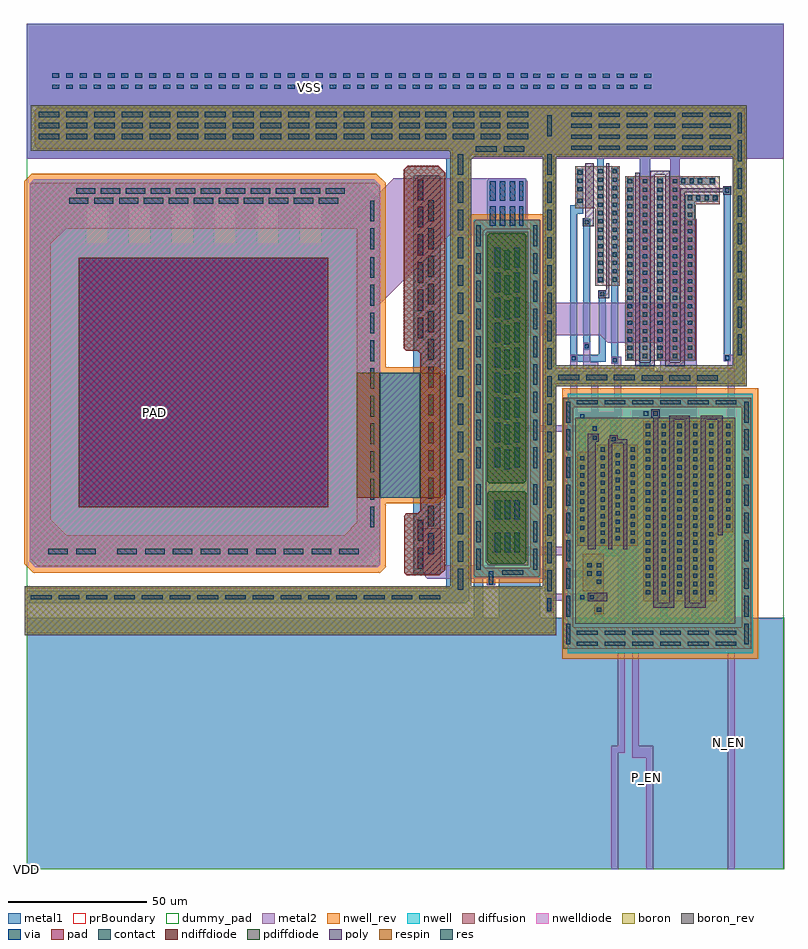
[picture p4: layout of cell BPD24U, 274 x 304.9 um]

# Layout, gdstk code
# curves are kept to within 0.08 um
import gdstk
lib = gdstk.Library(unit=1e-6, precision=1e-09)
def R(c, l, rs):  # rectangles x0, y0, x1, y1
    for r in rs: c.add(gdstk.rectangle(r[:2], r[2:], *l))
def A(c, l, x, y, w, h, nx, ny, dx, dy):  # array of equal rectangles
    R(c, l, [(x+i*dx, y+j*dy, x+i*dx+w, y+j*dy+h) for i in range(nx) for j in range(ny)])
def P(c, l, *ps):  # polygons
    for p in ps: c.add(gdstk.Polygon(p, *l))
nwell = (1, 0)
diffusion = (2, 0)
nwell_rev = (3, 0)
poly = (4, 0)
boron = (5, 0)
boron_rev = (6, 0)
contact = (7, 0)
metal1 = (8, 0)
via = (9, 0)
metal2 = (10, 0)
pad = (11, 0)
prBoundary = (28, 0)
res = (35, 0)
respin = (36, 0)
pdiffdiode = (37, 0)
nwelldiode = (38, 0)
ndiffdiode = (39, 0)
dummy_pad = (40, 0)

bpd24u = lib.new_cell('BPD24U')
R(bpd24u, nwell, [(195.05,77.9,261.7,171.4)])
P(bpd24u, nwell, [(161.5,105.25),(161.15,105.6),(161.15,233.95),(161.45,234.25),(185,234.25),(185.15,234.1),(185.15,105.6),(184.8,105.25)],
  [(3.15,108.95),(1.05,111.05),(1.05,247.25),(2.6,248.8),(125.25,248.8),(127.4,246.65),(127.4,179.652),(128.002,179.05),(147.45,179.05),(149.1,177.4),(149.1,135.7),(147.45,134.05),(128.058,134.05),(127.45,133.442),(127.45,109.75),(126.65,108.95)])
P(bpd24u, diffusion, [(162.101,105.25),(161.15,106.201),(161.15,233.344),(162.056,234.25),(181.65,234.25),(181.65,230.75),(165.536,230.75),(164.65,229.864),(164.65,109.515),(165.415,108.75),(181.395,108.75),(181.65,109.005),(181.65,234.25),(184.95,234.25),(185.15,234.05),(185.15,106.052),(184.348,105.25)],
  [(3.95,109.3),(1.05,112.2),(1.05,246.563),(2.037,247.55),(119,247.55),(119,231),(14.214,231),(8.7,225.486),(8.7,126.204),(14.404,120.5),(114.449,120.5),(119,125.051),(119,247.55),(125.563,247.55),(127.35,245.763),(127.35,109.952),(126.698,109.3)],
  [(137.101,105.95),(136.1,106.951),(136.1,127.549),(136.951,128.4),(140.987,128.4),(141.85,129.263),(141.85,185.999),(140.849,187),(136.906,187),(136,187.906),(136,252.285),(137.365,253.65),(148.4,253.65),(150.9,251.15),(150.9,108.002),(148.848,105.95)],
  [(193.45,79.6),(193.45,87.2),(193.5,87.2),(193.5,170.1),(257.8,170.1),(257.8,166.6),(197,166.6),(197,87.2),(257.8,87.2),(257.8,170.1),(261.3,170.1),(261.3,79.6)],
  [(0,85.15),(0,101.45),(153.45,101.45),(153.45,259.248),(152.848,259.85),(3.814,259.85),(2.85,260.814),(2.85,273.45),(4.05,274.65),(186.75,274.65),(186.75,257.65),(160.704,257.65),(159.55,256.496),(159.552,101.45),(186.295,101.45),(186.75,101.905),(186.75,274.65),(255.2,274.65),(255.2,257.65),(190.25,257.65),(190.25,180.8),(226.3,180.8),(226.3,179.4),(234.75,179.4),(234.75,180.8),(255.2,180.8),(255.2,274.65),(258.85,274.65),(258.85,174.85),(190.25,174.85),(190.25,85.15)],
  [(222.25,96.6),(222.25,161.6),(254.75,161.6),(254.75,121.6),(248.75,121.6),(248.75,96.6)],
  [(167.105,110.25),(166.15,111.205),(166.15,135.6),(166.8,136.25),(179.65,136.25),(180.15,135.75),(180.15,111.15),(179.25,110.25)],
  [(204.6,91.9),(204.6,95.4),(205.6,95.4),(205.6,100.2),(200.5,100.2),(200.5,113.8),(208.1,113.8),(208.1,91.9)],
  [(166.752,139.25),(166.15,139.852),(166.15,228.35),(167.05,229.25),(179.448,229.25),(180.15,228.548),(180.15,140.156),(179.244,139.25)],
  [(215.8,183.3),(215.8,249.95),(249.9,249.95),(249.9,239.75),(241.25,239.75),(241.25,183.3)],
  [(198.55,116.6),(198.55,150.6),(205.75,150.6),(205.75,153.1),(220.25,153.1),(220.25,116.6)],
  [(204.95,210.4),(204.95,238.4),(197.75,238.4),(197.75,253.4),(213.8,253.4),(213.8,210.4)])
R(bpd24u, nwell_rev, [(193.05,75.9,263.7,173.4)])
P(bpd24u, nwell_rev, [(160.672,103.25),(159.15,104.772),(159.15,234.778),(160.622,236.25),(185.828,236.25),(187.15,234.928),(187.15,104.772),(185.628,103.25)],
  [(2.322,106.95),(-0.95,110.222),(-0.95,248.078),(1.772,250.8),(126.078,250.8),(129.4,247.478),(129.4,181.05),(148.278,181.05),(151.1,178.228),(151.1,134.872),(148.278,132.05),(129.45,132.05),(129.45,108.922),(127.478,106.95)])
R(bpd24u, poly, [(202.3,96.65,209.3,99.65)])
P(bpd24u, poly, [(225.95,94.3),(225.95,162.9),(225.25,162.9),(225.25,165.8),(228.2,165.8),(228.2,162.9),(227.75,162.9),(227.75,96.1),(231.65,96.1),(231.65,163.6),(239.15,163.6),(239.15,96.1),(243.05,96.1),(243.05,163.6),(251.05,163.6),(251.05,120.4),(249.25,120.4),(249.25,162.1),(244.85,162.1),(244.85,94.3),(237.35,94.3),(237.35,162.1),(233.45,162.1),(233.45,94.3)],
  [(219.5,181.3),(219.5,251.15),(221,251.15),(221,182.8),(224.9,182.8),(224.9,251.95),(231.8,251.95),(231.8,182.8),(235.7,182.8),(235.7,245.6),(251.15,245.6),(251.15,246.2),(254.1,246.2),(254.1,243.3),(251.15,243.3),(251.15,244.1),(237.2,244.1),(237.2,181.3),(230.3,181.3),(230.3,250.45),(226.4,250.45),(226.4,181.3)],
  [(202.25,115.4),(202.25,157),(206.25,157),(206.25,154.1),(205.25,154.1),(205.25,115.4)],
  [(209.65,115.4),(209.65,155),(210.2,155),(210.2,156.5),(213.15,156.5),(213.15,155),(216.55,155),(216.55,115.4),(215.05,115.4),(215.05,153.6),(211.15,153.6),(211.15,115.4)],
  [(200.45,231.8),(200.45,234.7),(201.45,234.7),(201.45,254.65),(204.45,254.65),(204.45,231.8)],
  [(206.1,205.95),(206.1,208.85),(208.9,208.85),(208.9,254.65),(210.1,254.65),(210.1,205.95)])
R(bpd24u, boron, [(197.85,88.5,255.55,162.85)])
P(bpd24u, boron, [(166.6,109.55),(165.45,110.7),(165.45,229.5),(165.9,229.95),(180.85,229.95),(180.85,109.55)],
  [(-0.7,84.45),(-0.7,102.15),(152.75,102.15),(152.75,258.6),(152.2,259.15),(1.4,259.15),(1.4,275.45),(186.05,275.45),(186.05,256.95),(161.451,256.95),(160.25,255.749),(160.25,102.15),(185.7,102.15),(186.05,102.5),(186.05,275.45),(254.5,275.45),(254.5,256.95),(190.95,256.95),(190.95,181.8),(254.5,181.8),(254.5,275.45),(259.6,275.45),(259.6,174.15),(190.95,174.15),(190.95,84.45)])
R(bpd24u, boron_rev, [(197.85,88.5,255.55,162.85)])
P(bpd24u, boron_rev, [(166.6,109.55),(165.45,110.7),(165.45,229.5),(165.9,229.95),(180.85,229.95),(180.85,109.55)],
  [(-0.7,84.45),(-0.7,102.15),(152.75,102.15),(152.75,258.6),(152.2,259.15),(1.4,259.15),(1.4,275.45),(186.05,275.45),(186.05,256.95),(161.451,256.95),(160.25,255.749),(160.25,102.15),(185.7,102.15),(186.05,102.5),(186.05,275.45),(254.5,275.45),(254.5,256.95),(190.95,256.95),(190.95,181.8),(254.5,181.8),(254.5,275.45),(259.6,275.45),(259.6,174.15),(190.95,174.15),(190.95,84.45)])
A(bpd24u, contact, 198.4, 80.6, 7.5, 1.5, 6, 2, 10, 4)
A(bpd24u, contact, 194.5, 81.1, 1.5, 7.5, 1, 9, 0, 10)
A(bpd24u, contact, 258.8, 81.1, 1.5, 7.5, 1, 9, 0, 10)
A(bpd24u, contact, 1.55, 97.3, 7.5, 1.5, 15, 1, 10, 0)
A(bpd24u, contact, 223.25, 99.1, 1.5, 1.5, 5, 3, 5.7, 3)
A(bpd24u, contact, 187.75, 100.35, 1.5, 7.5, 1, 16, 0, 10)
A(bpd24u, contact, 155.45, 100.85, 2, 7.5, 1, 3, 0, 10)
A(bpd24u, contact, 228.95, 108.1, 1.5, 1.5, 1, 6, 0, 9)
A(bpd24u, contact, 240.35, 108.1, 1.5, 1.5, 1, 6, 0, 9)
A(bpd24u, contact, 223.25, 111.1, 1.5, 1.5, 5, 2, 5.7, 3)
A(bpd24u, contact, 32.75, 113.55, 7, 2, 9, 1, 10, 0)
A(bpd24u, contact, 168.85, 114.4, 2, 7, 3, 1, 3.5, 0)
A(bpd24u, contact, 206.95, 117.6, 1.5, 1.5, 1, 12, 0, 3)
A(bpd24u, contact, 217.75, 117.6, 1.5, 1.5, 1, 12, 0, 3)
A(bpd24u, contact, 223.25, 120.1, 1.5, 1.5, 5, 2, 5.7, 3)
A(bpd24u, contact, 252.25, 123.1, 1.5, 1.5, 1, 13, 0, 3)
A(bpd24u, contact, 123.85, 123.25, 1.5, 7.5, 1, 10, 0, 10)
A(bpd24u, contact, 144.85, 123.65, 2, 7.5, 1, 12, 0, 10)
A(bpd24u, contact, 212.35, 127.6, 1.5, 1.5, 1, 3, 0, 3)
A(bpd24u, contact, 223.25, 129.1, 1.5, 1.5, 5, 2, 5.7, 3)
A(bpd24u, contact, 155.45, 130.35, 2, 7.5, 1, 13, 0, 10)
A(bpd24u, contact, 223.25, 138.1, 1.5, 1.5, 5, 2, 5.7, 3)
A(bpd24u, contact, 172.25, 144.25, 2, 7, 1, 9, 0, 9)
A(bpd24u, contact, 162.15, 144.65, 1.5, 7.5, 1, 9, 0, 10)
A(bpd24u, contact, 182.65, 144.65, 1.5, 7.5, 1, 9, 0, 10)
A(bpd24u, contact, 168.75, 145.05, 2, 7, 1, 9, 0, 9)
A(bpd24u, contact, 175.75, 145.05, 2, 7, 1, 9, 0, 9)
A(bpd24u, contact, 223.25, 147.1, 1.5, 1.5, 5, 2, 5.7, 3)
A(bpd24u, contact, 223.25, 156.1, 1.5, 1.5, 5, 2, 5.7, 3)
A(bpd24u, contact, 198.4, 167.6, 7.5, 1.5, 6, 1, 10, 0)
A(bpd24u, contact, 221.75, 176.1, 7.5, 2, 3, 1, 10, 0)
A(bpd24u, contact, 191.75, 176.35, 7.5, 2, 3, 1, 10, 0)
A(bpd24u, contact, 216.8, 184.3, 1.5, 1.5, 5, 2, 5.4, 3)
A(bpd24u, contact, 256.3, 185.35, 1.5, 7.5, 1, 8, 0, 10)
A(bpd24u, contact, 222.2, 190.3, 1.5, 1.5, 1, 3, 0, 6)
A(bpd24u, contact, 233, 190.3, 1.5, 1.5, 1, 3, 0, 6)
A(bpd24u, contact, 141.05, 191.45, 2, 7.5, 1, 5, 0, 10)
A(bpd24u, contact, 216.8, 193.3, 1.5, 1.5, 5, 3, 5.4, 6)
A(bpd24u, contact, 216.8, 208.3, 1.5, 1.5, 3, 2, 10.8, 6)
A(bpd24u, contact, 216.8, 211.3, 1.5, 1.5, 4, 2, 5.4, 18)
A(bpd24u, contact, 206.15, 211.9, 1.5, 1.5, 1, 14, 0, 3)
A(bpd24u, contact, 211.3, 211.9, 1.5, 1.5, 1, 14, 0, 3)
A(bpd24u, contact, 216.8, 217.3, 1.5, 1.5, 5, 2, 5.4, 6)
A(bpd24u, contact, 216.8, 226.3, 1.5, 1.5, 3, 1, 10.8, 0)
A(bpd24u, contact, 216.8, 232.3, 1.5, 1.5, 5, 4, 5.4, 3)
A(bpd24u, contact, 15.3, 240.05, 7, 2, 11, 1, 9, 0)
A(bpd24u, contact, 241.4, 241.3, 1.5, 1.5, 3, 1, 3, 0)
A(bpd24u, contact, 17.8, 243.55, 7, 2, 10, 1, 9, 0)
A(bpd24u, contact, 216.8, 244.3, 1.5, 1.5, 4, 2, 5.4, 3)
A(bpd24u, contact, 198.75, 244.5, 1.5, 1.5, 1, 3, 0, 3)
A(bpd24u, contact, 236, 247.4, 1.5, 1.5, 3, 1, 3, 0)
A(bpd24u, contact, 196.3, 259.35, 7.5, 1.5, 6, 4, 10, 4)
A(bpd24u, contact, 4.3, 263.15, 7.5, 2, 14, 3, 10, 4)
A(bpd24u, contact, 143.8, 263.15, 7.5, 2, 1, 3, 0, 4)
A(bpd24u, contact, 173.3, 263.15, 7.5, 2, 1, 3, 0, 4)
R(bpd24u, contact, [(205.6,92.9,207.1,94.4), (203,97.35,204.5,98.85), (205.6,102.9,207.1,104.4), (202.15,105.9,203.65,107.4), (171.55,106.25,179.05,107.75), (162.15,108,163.65,115.5), (182.65,108,184.15,115.5), (141.05,108.4,143.05,115.9), (202.15,108.9,203.65,110.4), (205.6,108.9,207.1,110.4), (7.85,113.55,14.85,115.55), (17.85,113.55,24.85,115.55), (162.15,118,163.65,125.5), (182.65,118,184.15,125.5), (199.55,118.2,201.05,119.7), (141.05,118.45,143.05,125.95), (212.35,118.6,213.85,120.1), (212.35,121.6,213.85,123.1), (199.55,122.4,201.05,123.9), (199.55,125.65,201.05,127.15), (168.85,126.15,170.85,133.15), (172.35,126.15,174.35,133.15), (199.55,128.85,201.05,130.35), (162.15,131.4,163.65,138.9), (182.65,131.4,184.15,138.9), (199.55,131.85,201.05,133.35), (199.55,135.05,201.05,136.55), (199.55,138.05,201.05,139.55), (212.35,139.6,213.85,141.1), (199.55,141.25,201.05,142.75), (212.35,142.6,213.85,144.1), (199.55,144.25,201.05,145.75), (199.55,147.45,201.05,148.95), (212.35,148.6,213.85,150.1), (210.95,154.3,212.45,155.8), (204.05,154.8,205.55,156.3), (226,163.6,227.5,165.1), (238.4,190.3,239.9,191.8), (206.8,206.65,208.3,208.15), (216.8,220.3,218.3,221.8), (227.6,220.3,229.1,221.8), (123.85,223.6,125.35,231.1), (201.15,232.5,202.65,234), (123.85,233.6,125.35,241.1), (198.75,240.3,200.25,241.8), (141.05,241.15,143.05,248.65), (107.8,243.55,114.7,245.55), (251.9,244,253.4,245.5), (246.35,247.4,247.85,248.9), (161.95,258.65,169.45,260.65), (171.95,258.65,179.45,260.65), (153.65,263.15,161.3,265.15), (163.8,263.15,170.8,265.15), (187.75,264.35,189.25,271.85), (256.35,265.35,257.85,272.85), (153.65,267.15,161.3,269.15), (163.8,267.15,170.8,269.15), (153.8,271.15,161.3,273.15), (163.3,271.15,170.8,273.15)])
A(bpd24u, metal1, 222.75, 98.6, 2.5, 62.5, 3, 1, 11.4, 0)
R(bpd24u, metal1, [(0,0,273,90.7), (199.1,96.85,205,99.35), (201.65,102.4,207.65,110.9), (211.85,118.1,214.35,151.7), (203.55,154.3,206.05,160.2), (222.05,163.1,228.05,165.6), (210.8,182.3,213.3,252.9), (251.4,183.1,253.9,246), (216.3,183.8,218.8,249.3), (227.1,183.8,229.6,249.3), (200.65,187.3,203.15,234.5), (0,256.2,273,304.9)])
P(bpd24u, metal1, [(187.15,92.55),(187.15,99.2),(186.75,99.3),(186.75,255.344),(185.894,256.2),(160.252,256.2),(159.55,255.498),(159.55,97.066),(158.334,95.85),(0.75,95.85),(0.75,100.5),(151.35,100.5),(151.35,256.2),(0,256.2),(0,304.9),(221.1,304.9),(221.1,256.2),(208.15,256.2),(208.15,211.4),(205.65,211.4),(205.65,256.2),(190.95,256.2),(190.95,179.8),(221.1,179.8),(221.1,304.9),(255.8,304.9),(255.8,256.2),(235.5,256.2),(235.5,249.4),(248.35,249.4),(248.35,246.9),(235.5,246.9),(235.5,183.8),(232,183.8),(232,256.2),(224.8,256.2),(224.8,179.8),(255.8,179.8),(255.8,304.9),(273,304.9),(273,256.2),(258.4,256.2),(258.4,175.1),(190.95,175.1),(190.95,99.3),(190.85,99.2),(189.65,99.2),(189.65,92.55)],
  [(2.45,110.8),(1.75,111.5),(1.75,245.949),(3.351,247.55),(29.2,247.55),(29.2,238.55),(21.5,238.55),(21.5,225.55),(29.2,225.55),(29.2,247.55),(44.6,247.55),(44.6,238.55),(36.9,238.55),(36.9,225.55),(44.6,225.55),(44.6,247.55),(60,247.55),(60,238.55),(52.3,238.55),(52.3,225.55),(60,225.55),(60,247.55),(75.4,247.55),(75.4,238.55),(67.7,238.55),(67.7,225.55),(75.4,225.55),(75.4,247.55),(90.8,247.55),(90.8,238.55),(83.1,238.55),(83.1,225.55),(90.8,225.55),(90.8,247.55),(106.2,247.55),(106.2,238.55),(98.5,238.55),(98.5,225.55),(106.2,225.55),(106.2,247.55),(121.25,247.55),(127.4,241.4),(127.4,214),(127.3,214),(127.35,116.437),(121.713,110.8)],
  [(139.35,106.65),(139.35,249.685),(139.915,250.25),(148.548,250.25),(149.35,249.448),(149.35,106.65)],
  [(0,0),(0,90.7),(160.689,90.7),(161.15,91.161),(161.15,233.85),(161.55,234.25),(164.197,234.25),(164.65,233.797),(164.65,91.05),(165,90.7),(169.7,90.7),(170.15,91.15),(170.15,108.248),(170.652,108.75),(181.395,108.75),(181.65,109.005),(181.65,233.847),(182.053,234.25),(184.8,234.25),(185.15,233.9),(185.15,91.202),(185.652,90.7),(193.75,90.7),(193.75,169.65),(258.3,169.6),(258.3,167.1),(196.5,167.1),(196.5,90.7),(205,90.7),(205,94.9),(207.6,94.9),(207.6,90.7),(214.15,90.7),(214.15,112.9),(206.45,112.9),(206.45,152.6),(208.95,152.6),(208.95,115.45),(217.25,115.45),(217.25,152.65),(219.75,152.65),(219.75,90.7),(228.45,90.7),(228.45,161.1),(230.95,161.1),(230.95,90.7),(239.85,90.7),(239.85,161.1),(242.35,161.1),(242.35,90.7),(251.75,90.7),(251.75,161.1),(254.25,161.1),(254.25,90.7),(258.3,90.7),(258.3,169.6),(260.8,169.6),(260.8,90.7),(273.05,90.7),(273.05,0)],
  [(166.15,102.35),(166.15,135.394),(166.157,135.412),(166.237,135.531),(166.956,136.25),(179.348,136.25),(180.15,135.448),(180.15,111.27),(179.13,110.25),(169.601,110.25),(168.65,109.299),(168.65,102.35)],
  [(237.4,183.8),(237.4,243.3),(249.4,243.3),(249.4,240.7),(240.85,240.7),(240.85,183.8)],
  [(166.75,139.25),(166.15,139.85),(166.15,248.498),(166.802,249.15),(179.747,249.15),(180.115,248.782),(180.15,248.697),(180.15,140.156),(179.244,139.25)],
  [(195.95,183.05),(195.95,239.35),(198.25,239.35),(198.25,252.5),(200.75,252.5),(200.75,236.4),(198.45,236.4),(198.45,185.55),(206.3,185.55),(206.3,208.65),(208.8,208.65),(208.8,183.05)],
  [(199.05,117.7),(199.05,164.6),(212.95,164.6),(212.95,153.8),(210.45,153.8),(210.45,162.1),(201.55,162.1),(201.55,117.7)])
A(bpd24u, via, 223.25, 108.1, 1.5, 1.5, 3, 6, 11.4, 9)
A(bpd24u, via, 216.8, 196.3, 1.5, 1.5, 3, 2, 10.8, 6)
A(bpd24u, via, 222.2, 208.3, 1.5, 1.5, 1, 4, 0, 6)
A(bpd24u, via, 233, 208.3, 1.5, 1.5, 1, 4, 0, 6)
A(bpd24u, via, 238.4, 211.3, 1.5, 1.5, 1, 3, 0, 9)
A(bpd24u, via, 182.7, 281.4, 2.5, 1.5, 9, 2, 5, 4)
A(bpd24u, via, 9.2, 281.45, 2.5, 1.5, 27, 2, 5, 4)
A(bpd24u, via, 143.7, 281.45, 2.5, 1.5, 4, 2, 5, 4)
A(bpd24u, via, 163.2, 281.45, 2.5, 1.5, 4, 2, 5, 4)
R(bpd24u, via, [(187.65,93.05,189.15,97.7), (199.6,97.35,201.1,98.85), (166.65,102.85,168.15,107.5), (205.6,105.9,207.1,107.4), (144.85,113.65,146.85,121.15), (212.35,124.6,213.85,126.1), (175.85,126.15,177.85,133.15), (18.8,130.55,108.8,220.55), (212.35,136.6,213.85,138.1), (212.35,145.6,213.85,147.1), (204.05,158.2,205.55,159.7), (199.55,162.6,201.05,164.1), (222.55,163.6,224.05,165.1), (211.3,182.8,212.8,184.3), (196.45,183.55,197.95,185.05), (251.9,183.6,253.4,185.1), (201.15,187.8,202.65,189.3), (216.8,190.3,218.3,191.8), (227.6,190.3,229.1,191.8), (167.05,232.05,169.05,239.05), (170.6,232.05,172.6,239.05), (174.1,232.05,176.1,239.05), (177.6,232.05,179.1,239.05), (167.05,241.05,169.05,248.05), (170.6,241.05,172.6,248.05), (174.1,241.05,176.1,248.05), (177.6,241.05,179.1,248.05)])
R(bpd24u, metal2, [(0,256.2,273,304.9)])
P(bpd24u, metal2, [(174.7,122.7),(174.7,160.2),(203.55,160.2),(203.55,180.3),(200.65,180.3),(200.65,189.9),(203.15,189.9),(203.15,182.8),(206.05,182.8),(206.05,157.7),(179.1,157.7),(179.1,122.7)],
  [(210.85,0),(210.85,44.5),(213.2,44.5),(213.2,123.6),(211.85,123.6),(211.85,182.3),(210.8,182.3),(210.8,184.8),(214.35,184.8),(214.35,149.2),(215.7,149.2),(215.7,42),(213.35,42),(213.35,0)],
  [(252.85,0),(252.85,183.1),(251.4,183.1),(251.4,185.6),(255.35,185.6),(255.35,0)],
  [(193.05,105.4),(193.05,113.25),(167.85,113.25),(167.85,194.107),(166.75,195.207),(166.75,227.786),(165.936,228.6),(152.298,228.6),(113.8,190.118),(113.8,126.352),(112.998,125.55),(14.751,125.55),(13.8,126.501),(13.8,224.7),(14.65,225.55),(108.749,225.55),(132.15,248.951),(132.15,249.15),(179.65,249.15),(180.75,248.05),(180.75,228.637),(179.85,227.737),(179.85,205.554),(181.054,204.35),(237.4,204.3),(237.4,234.3),(241.6,234.3),(241.6,155.1),(248.05,155.1),(248.05,107.6),(245.15,107.6),(245.15,148.25),(237.1,148.25),(237.1,107.6),(233.8,107.6),(233.8,147.7),(225.75,147.7),(225.75,107.6),(222.75,107.6),(222.75,155.1),(228.4,155.1),(228.4,189.8),(209.554,189.8),(206.8,192.554),(171.954,192.554),(170.85,191.45),(170.85,116.3),(195.65,116.3),(195.65,107.9),(207.65,107.9),(207.65,105.4)],
  [(223.45,0),(223.45,40.3),(218.25,40.3),(218.25,165.6),(224.55,165.6),(224.55,163.1),(220.75,163.1),(220.75,44.5),(225.95,44.5),(225.95,0)],
  [(221.1,207.8),(221.1,256.2),(0,256.2),(0,304.9),(273,304.9),(273,256.2),(235.5,256.2),(235.5,207.8),(232,207.8),(232,256.2),(224.8,256.2),(224.8,207.8)],
  [(166.15,102.35),(165.95,102.55),(165.95,104.6),(165.7,104.85),(144.453,104.85),(142.8,106.503),(142.8,122.548),(143.302,123.05),(149.298,123.05),(149.8,122.548),(149.8,111.101),(151.351,109.55),(168.05,109.55),(169.202,108.3),(189.65,108.3),(189.65,104.75),(169.05,104.75),(168.95,104.65),(168.95,102.45),(168.85,102.35)],
  [(187.15,92.55),(187.15,99.35),(201.9,99.35),(201.9,96.85),(189.65,96.85),(189.65,92.55)],
  [(195.95,162.1),(195.95,185.55),(198.45,185.55),(198.45,164.6),(201.55,164.6),(201.55,162.1)])
R(bpd24u, pad, [(18.8,130.55,108.8,220.55)])
R(bpd24u, prBoundary, [(0,0,273,304.9)])
R(bpd24u, res, [(127.35,134.05,141.85,179.05)])
R(bpd24u, respin, [(119,134.05,127.35,179.05), (141.85,134.05,149.1,179.05)])
P(bpd24u, pdiffdiode, [(167.105,110.25),(166.15,111.205),(166.15,135.6),(166.8,136.25),(179.65,136.25),(180.15,135.75),(180.15,111.15),(179.25,110.25)],
  [(166.752,139.25),(166.15,139.852),(166.15,228.35),(167.05,229.25),(179.448,229.25),(180.15,228.548),(180.15,140.156),(179.244,139.25)])
P(bpd24u, nwelldiode, [(3.15,108.95),(1.05,111.05),(1.05,247.25),(2.6,248.8),(125.25,248.8),(127.4,246.65),(127.4,179.652),(128.002,179.05),(147.45,179.05),(149.1,177.4),(149.1,135.7),(147.45,134.05),(128.058,134.05),(127.45,133.442),(127.45,109.75),(126.65,108.95)])
P(bpd24u, ndiffdiode, [(137.101,105.95),(136.1,106.951),(136.1,127.549),(136.951,128.4),(140.987,128.4),(141.85,129.263),(141.85,185.999),(140.849,187),(136.906,187),(136,187.906),(136,252.285),(137.365,253.65),(148.4,253.65),(150.9,251.15),(150.9,108.002),(148.848,105.95)])
R(bpd24u, dummy_pad, [(0,0,273,304.9)])
bpd24u.add(gdstk.Label('VSS', (102,281.801), layer=10, texttype=7))
bpd24u.add(gdstk.Label('P_EN', (223.6,33), layer=10, texttype=7))
bpd24u.add(gdstk.Label('N_EN', (252.9,45.6), layer=10, texttype=7))
bpd24u.add(gdstk.Label('TO_CORE', (210.9,33.45), layer=10, texttype=7))
bpd24u.add(gdstk.Label('PAD', (46.05,164.65), layer=10, texttype=7))
bpd24u.add(gdstk.Label('VDD', (0.001,0.001), layer=8, texttype=7))

lib.write_gds('BPD24U.gds')
